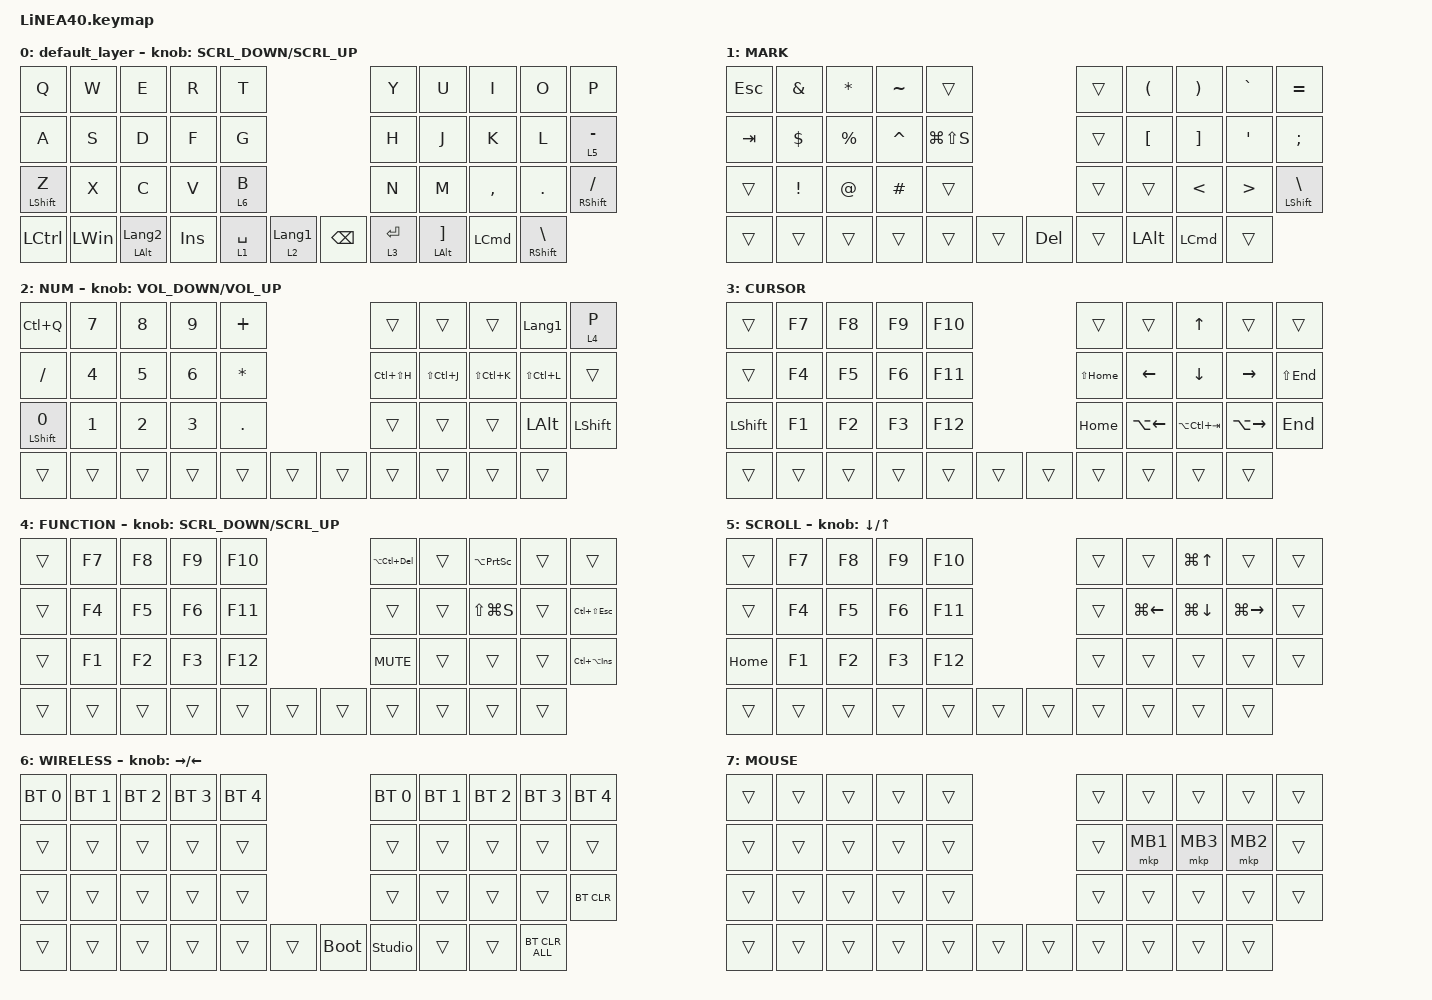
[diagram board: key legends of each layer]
#define ZMK_POINTING_DEFAULT_SCRL_VAL 150

#include <dt-bindings/zmk/input_transform.h>
#include <input/processors.dtsi>
#include <zephyr/dt-bindings/input/input-event-codes.h>
#include <behaviors.dtsi>
#include <dt-bindings/zmk/bt.h>
#include <dt-bindings/zmk/keys.h>
#include <dt-bindings/zmk/pointing.h>

#define MOUSE 1
#define MARK 2
#define CURSOR 3
#define FUNCTION 4
#define SCROLL 5
#define WIRELESS 6

&mt {
    flavor = "balanced";
    quick-tap-ms = <0>;
};

//mouse cursol

&mmv {
    delay-ms = <20>;
    trigger-period-ms = <5>;
    time-to-max-speed-ms = <100>;
    acceleration-exponent = <2>;
};

//mouse scroll

&msc {
    delay-ms = <3>;
    trigger-period-ms = <3>;
    time-to-max-speed-ms = <100>;
    acceleration-exponent = <0>;
};

/ {
    input_processors {
        zip_wheel_scaler: zip_wheel_scaler {
            compatible = "zmk,input-processor-scaler";
            #input-processor-cells = <2>;
            type = <INPUT_EV_REL>;
            codes = <INPUT_REL_WHEEL>;
            track-remainders;
        };
    };
};

&msc_input_listener {
    speed_up {
        layers = <FUNCTION>;
        input-processors = <&zip_wheel_scaler 3 1>; //スクロールを3倍速にする
    };
};

&trackball_listener {
    scroller {
        layers = <SCROLL>;
        input-processors =
            <&zip_xy_transform INPUT_TRANSFORM_Y_INVERT>,
            //スクロール方向を逆転,,,,,,,,,,,,,,
            <&zip_xy_to_scroll_mapper>;
    };
};

/ {
    combos {
        compatible = "zmk,combos";

        ZenkakuHankaku {
            bindings = <&kp GRAVE>;
            key-positions = <11 12>;
        };

        DeleteKey {
            bindings = <&kp DEL>;
            key-positions = <7 8>;
        };

        InsertKey {
            bindings = <&kp INS>;
            key-positions = <6 7>;
        };

        CenterClick {
            bindings = <&mkp MB3>;
            key-positions = <17 16>;
        };

        RightClick {
            bindings = <&mkp MB2>;
            key-positions = <18 17>;
        };

        PrevClick {
            bindings = <&mkp MB4>;
            key-positions = <27 28>;
        };

        ClickNext {
            bindings = <&mkp MB5>;
            key-positions = <26 27>;
        };
    };

    behaviors {
        re_kp: sensor_rotate_kp {
            compatible = "zmk,behavior-sensor-rotate-var";
            #sensor-binding-cells = <2>;
            bindings = <&kp>, <&kp>;
        };

        mouse_scrl: mouse_wheel_scrl {
            compatible = "zmk,behavior-sensor-rotate-var";
            #sensor-binding-cells = <2>;
            bindings = <&msc>, <&msc>;

            tap-ms = <20>;
        };
    };

    keymap {
        compatible = "zmk,keymap";

        default_layer {
            bindings = <
&kp Q             &kp W         &kp E                    &kp R    &kp T                                           &kp Y        &kp U  &kp I                       &kp O             &kp P
&kp A             &kp S         &kp D                    &kp F    &kp G                                           &kp H        &kp J  &kp K                       &kp L             &lt 5 MINUS
&mt LEFT_SHIFT Z  &kp X         &kp C                    &kp V    &lt 6 B                                         &kp N        &kp M  &kp COMMA                   &kp DOT           &mt RIGHT_SHIFT SLASH
&kp LCTRL         &kp LEFT_WIN  &mt LEFT_ALT LANGUAGE_2  &kp INS  &lt 1 SPACE  &lt 2 LANGUAGE_1    &kp BACKSPACE  &lt 3 ENTER         &mt LEFT_ALT RIGHT_BRACKET  &kp LEFT_COMMAND  &mt RIGHT_SHIFT BACKSLASH
            >;

            sensor-bindings = <&mouse_scrl SCRL_DOWN SCRL_UP>;
        };

        //1

        MARK {
            bindings = <
&kp ESCAPE  &kp AMPERSAND    &kp ASTERISK  &kp TILDE  &trans                               &trans  &kp LEFT_PARENTHESIS  &kp RIGHT_PARENTHESIS  &kp GRAVE         &kp EQUAL
&kp TAB     &kp DOLLAR       &kp PERCENT   &kp CARET  &kp LG(LS(S))                        &trans  &kp LEFT_BRACKET      &kp RIGHT_BRACKET      &kp SINGLE_QUOTE  &kp SEMICOLON
&trans      &kp EXCLAMATION  &kp AT_SIGN   &kp HASH   &trans                               &trans  &trans                &kp LESS_THAN          &kp GREATER_THAN  &mt LEFT_SHIFT BACKSLASH
&trans      &trans           &trans        &trans     &trans         &trans    &kp DELETE  &trans                        &kp LEFT_ALT           &kp LEFT_COMMAND  &trans
            >;
        };

        //2

        NUM {
            bindings = <
&kp LC(Q)                &kp NUMBER_7  &kp NUMBER_8  &kp NUMBER_9  &kp PLUS                        &trans         &trans         &trans         &kp LANGUAGE_1  &lt 4 P
&kp SLASH                &kp NUMBER_4  &kp NUMBER_5  &kp NUMBER_6  &kp ASTERISK                    &kp LC(LS(H))  &kp LS(LC(J))  &kp LS(LC(K))  &kp LS(LC(L))   &trans
&mt LEFT_SHIFT NUMBER_0  &kp NUMBER_1  &kp NUMBER_2  &kp NUMBER_3  &kp PERIOD                      &trans         &trans         &trans         &kp LEFT_ALT    &kp LEFT_SHIFT
&trans                   &trans        &trans        &trans        &trans        &trans    &trans  &trans                        &trans         &trans          &trans
            >;

            sensor-bindings = <&re_kp C_VOLUME_DOWN C_VOLUME_UP>;
        };

        //3

        CURSOR {
            bindings = <
&trans          &kp F7  &kp F8  &kp F9  &kp F10                    &trans        &trans              &kp UP_ARROW     &trans               &trans
&trans          &kp F4  &kp F5  &kp F6  &kp F11                    &kp LS(HOME)  &kp LEFT_ARROW      &kp DOWN         &kp RIGHT_ARROW      &kp LS(END)
&kp LEFT_SHIFT  &kp F1  &kp F2  &kp F3  &kp F12                    &kp HOME      &kp LA(LEFT_ARROW)  &kp LA(LC(TAB))  &kp LA(RIGHT_ARROW)  &kp END
&trans          &trans  &trans  &trans  &trans   &trans    &trans  &trans                            &trans           &trans               &trans
            >;
        };

        //4

        FUNCTION {
            bindings = <
&trans  &kp F7  &kp F8  &kp F9  &kp F10                    &kp LA(LC(DELETE))  &trans  &kp LA(PRINTSCREEN)  &trans  &trans
&trans  &kp F4  &kp F5  &kp F6  &kp F11                    &trans              &trans  &kp LS(LG(S))        &trans  &kp LC(LS(ESCAPE))
&trans  &kp F1  &kp F2  &kp F3  &kp F12                    &kp C_MUTE          &trans  &trans               &trans  &kp LC(LA(INS))
&trans  &trans  &trans  &trans  &trans   &trans    &trans  &trans                      &trans               &trans  &trans
            >;

            sensor-bindings = <&mouse_scrl SCRL_DOWN SCRL_UP>;
        };

        //5

        SCROLL {
            bindings = <
&trans    &kp F7  &kp F8  &kp F9  &kp F10                    &trans  &trans              &kp LG(UP_ARROW)    &trans               &trans
&trans    &kp F4  &kp F5  &kp F6  &kp F11                    &trans  &kp LG(LEFT_ARROW)  &kp LG(DOWN_ARROW)  &kp LG(RIGHT_ARROW)  &trans
&kp HOME  &kp F1  &kp F2  &kp F3  &kp F12                    &trans  &trans              &trans              &trans               &trans
&trans    &trans  &trans  &trans  &trans   &trans    &trans  &trans                      &trans              &trans               &trans
            >;

            sensor-bindings = <&inc_dec_kp DOWN_ARROW UP_ARROW>;
        };

        //6

        WIRELESS {
            bindings = <
&bt BT_SEL 0  &bt BT_SEL 1  &bt BT_SEL 2  &bt BT_SEL 3  &bt BT_SEL 4                         &bt BT_SEL 0    &bt BT_SEL 1  &bt BT_SEL 2  &bt BT_SEL 3  &bt BT_SEL 4
&trans        &trans        &trans        &trans        &trans                               &trans          &trans        &trans        &trans        &trans
&trans        &trans        &trans        &trans        &trans                               &trans          &trans        &trans        &trans        &bt BT_CLR
&trans        &trans        &trans        &trans        &trans        &trans    &bootloader  &studio_unlock                &trans        &trans        &bt BT_CLR_ALL
            >;

            sensor-bindings = <&inc_dec_kp RIGHT_ARROW LEFT_ARROW>;
        };

        MOUSE {
            bindings = <
&trans  &trans  &trans  &trans  &trans                    &trans  &trans    &trans    &trans    &trans
&trans  &trans  &trans  &trans  &trans                    &trans  &mkp MB1  &mkp MB3  &mkp MB2  &trans
&trans  &trans  &trans  &trans  &trans                    &trans  &trans    &trans    &trans    &trans
&trans  &trans  &trans  &trans  &trans  &trans    &trans  &trans            &trans    &trans    &trans
            >;
        };
    };
};
